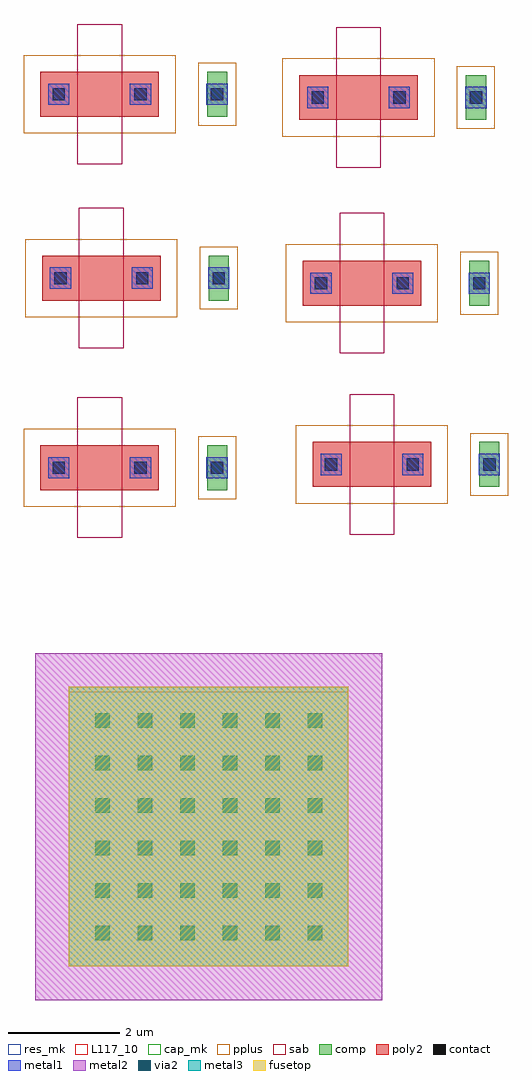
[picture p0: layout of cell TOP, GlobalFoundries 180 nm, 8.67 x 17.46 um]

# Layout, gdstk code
from math import pi, radians
import gdstk
lib = gdstk.Library(unit=1e-6, precision=1e-09)
def R(c, l, rs):  # rectangles x0, y0, x1, y1
    for r in rs: c.add(gdstk.rectangle(r[:2], r[2:], *l))
def A(c, l, x, y, w, h, nx, ny, dx, dy):  # array of equal rectangles
    R(c, l, [(x+i*dx, y+j*dy, x+i*dx+w, y+j*dy+h) for i in range(nx) for j in range(ny)])
comp = (22, 0)
poly2 = (30, 0)
pplus = (31, 0)
contact = (33, 0)
metal1 = (34, 0)
metal2 = (36, 0)
via2 = (38, 0)
metal3 = (42, 0)
sab = (49, 0)
fusetop = (75, 0)
res_mk = (110, 5)
cap_mk = (117, 5)
L117_10 = (117, 10)

cap_mim = lib.new_cell('cap_mim')
R(cap_mim, metal2, [(-0.6,-0.6,5.6,5.6)])
A(cap_mim, via2, 0.47, 0.47, 0.26, 0.26, 6, 6, 0.76, 0.76)
R(cap_mim, metal3, [(0,0,5,5)])
R(cap_mim, fusetop, [(0,0,5,5)])
R(cap_mim, cap_mk, [(-0.6,-0.6,5.6,5.6)])
R(cap_mim, L117_10, [(0,0,5,0.1)])

ppolyf_u_resistor = lib.new_cell('ppolyf_u_resistor')
R(ppolyf_u_resistor, comp, [(-1.88,0,-1.52,0.8)])
R(ppolyf_u_resistor, poly2, [(-0.66,0,1.46,0.8)])
R(ppolyf_u_resistor, pplus, [(-0.96,-0.3,1.76,1.1), (-2.04,-0.16,-1.36,0.96)])
R(ppolyf_u_resistor, contact, [(-1.81,0.29,-1.59,0.51), (-0.44,0.29,-0.22,0.51), (1.02,0.29,1.24,0.51)])
R(ppolyf_u_resistor, metal1, [(-1.89,0.209,-1.51,0.591), (-0.52,0.209,-0.14,0.591), (0.94,0.209,1.32,0.591)])
R(ppolyf_u_resistor, sab, [(0,-0.856,0.8,1.656)])
R(ppolyf_u_resistor, res_mk, [(0,0,0.8,0.8)])

top = lib.new_cell('TOP')
top.add(gdstk.Reference(cap_mim, (8.06,10.06), rotation=pi))
top.add(gdstk.Reference(ppolyf_u_resistor, (4.01,14.38), rotation=pi))
top.add(gdstk.Reference(ppolyf_u_resistor, (4.04,17.77), rotation=pi))
top.add(gdstk.Reference(ppolyf_u_resistor, (8.7,17.68), rotation=pi))
top.add(gdstk.Reference(ppolyf_u_resistor, (8.88,14.44), rotation=pi))
top.add(gdstk.Reference(ppolyf_u_resistor, (4.01,21.06), rotation=pi))
top.add(gdstk.Reference(ppolyf_u_resistor, (8.64,21), rotation=pi))

lib.write_gds('TOP.gds')
